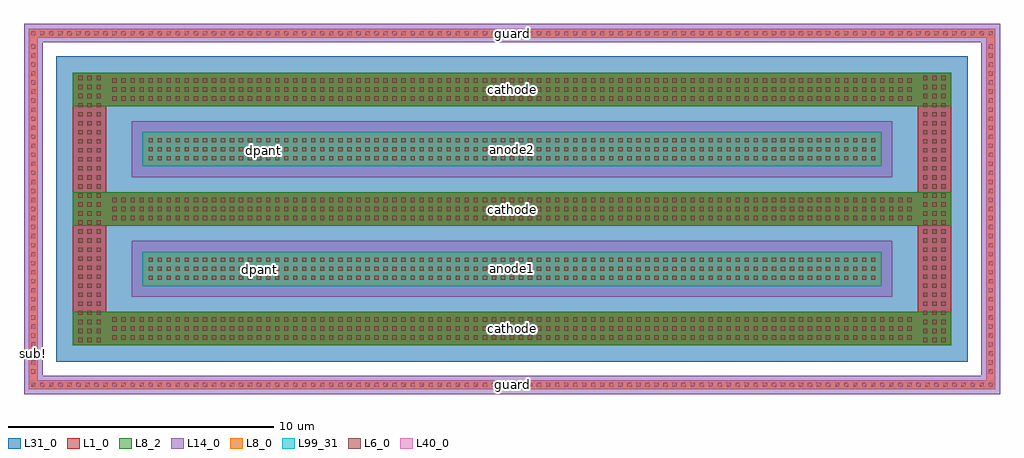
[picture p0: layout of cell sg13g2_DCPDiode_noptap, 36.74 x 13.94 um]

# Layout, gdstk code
import gdstk
lib = gdstk.Library(unit=1e-6, precision=5e-09)
def R(c, l, rs):  # rectangles x0, y0, x1, y1
    for r in rs: c.add(gdstk.rectangle(r[:2], r[2:], *l))
def A(c, l, x, y, w, h, nx, ny, dx, dy):  # array of equal rectangles
    R(c, l, [(x+i*dx, y+j*dy, x+i*dx+w, y+j*dy+h) for i in range(nx) for j in range(ny)])
def P(c, l, *ps):  # polygons
    for p in ps: c.add(gdstk.Polygon(p, *l))
L1_0 = (1, 0)
L6_0 = (6, 0)
L8_0 = (8, 0)
L8_2 = (8, 2)
L14_0 = (14, 0)
L31_0 = (31, 0)
L40_0 = (40, 0)
L99_31 = (99, 31)

sg13g2_dcpdiode_noptap = lib.new_cell('sg13g2_DCPDiode_noptap')
R(sg13g2_dcpdiode_noptap, L1_0, [(2.64,2.25,30.42,3.51), (2.64,6.75,30.42,8.01)])
P(sg13g2_dcpdiode_noptap, L1_0, [(-1.66,-1.66),(-1.66,11.58),(-1.32,11.58),(-1.32,-1.32),(34.38,-1.32),(34.38,11.58),(-1.66,11.58),(-1.66,11.92),(34.72,11.92),(34.72,-1.66)],
  [(0,0),(0,4.5),(1.26,4.5),(1.26,1.26),(31.8,1.26),(31.8,4.5),(0,4.5),(0,9),(1.26,9),(1.26,5.76),(31.8,5.76),(31.8,9),(0,9),(0,10.26),(33.06,10.26),(33.06,0)])
A(sg13g2_dcpdiode_noptap, L6_0, -1.57, -1.57, 0.16, 0.16, 107, 2, 0.34, 13.24)
A(sg13g2_dcpdiode_noptap, L6_0, -1.57, -1.07, 0.16, 0.16, 1, 37, 0, 0.34)
A(sg13g2_dcpdiode_noptap, L6_0, 34.47, -1.07, 0.16, 0.16, 1, 37, 0, 0.34)
A(sg13g2_dcpdiode_noptap, L6_0, 0.21, 0.12, 0.16, 0.16, 3, 30, 0.34, 0.34)
A(sg13g2_dcpdiode_noptap, L6_0, 32.01, 0.12, 0.16, 0.16, 3, 30, 0.34, 0.34)
A(sg13g2_dcpdiode_noptap, L6_0, 1.49, 0.21, 0.16, 0.16, 89, 3, 0.34, 0.34)
A(sg13g2_dcpdiode_noptap, L6_0, 2.85, 2.46, 0.16, 0.16, 81, 3, 0.34, 0.34)
A(sg13g2_dcpdiode_noptap, L6_0, 1.49, 4.71, 0.16, 0.16, 89, 3, 0.34, 0.34)
A(sg13g2_dcpdiode_noptap, L6_0, 2.85, 6.96, 0.16, 0.16, 81, 3, 0.34, 0.34)
A(sg13g2_dcpdiode_noptap, L6_0, 1.49, 9.21, 0.16, 0.16, 89, 3, 0.34, 0.34)
R(sg13g2_dcpdiode_noptap, L8_0, [(-1.66,-1.66,34.72,-1.32), (2.64,2.25,30.42,3.51), (2.64,6.75,30.42,8.01), (-1.66,11.58,34.72,11.92)])
P(sg13g2_dcpdiode_noptap, L8_0, [(-1.66,-1.66),(-1.66,11.58),(-1.32,11.58),(-1.32,-1.32),(34.38,-1.32),(34.38,11.58),(-1.66,11.58),(-1.66,11.92),(34.72,11.92),(34.72,-1.66)])
A(sg13g2_dcpdiode_noptap, L8_2, 0, 0, 33.06, 1.26, 1, 3, 0, 4.5)
R(sg13g2_dcpdiode_noptap, L8_2, [(-1.66,-1.66,34.72,-1.32), (2.64,2.25,30.42,3.51), (2.64,6.75,30.42,8.01), (-1.66,11.58,34.72,11.92)])
R(sg13g2_dcpdiode_noptap, L14_0, [(2.22,1.83,30.84,3.93), (2.22,6.33,30.84,8.43)])
P(sg13g2_dcpdiode_noptap, L14_0, [(-1.84,-1.84),(-1.84,11.4),(-1.14,11.4),(-1.14,-1.14),(34.2,-1.14),(34.2,11.4),(-1.84,11.4),(-1.84,12.1),(34.9,12.1),(34.9,-1.84)])
R(sg13g2_dcpdiode_noptap, L31_0, [(-0.62,-0.62,33.68,10.88)])
P(sg13g2_dcpdiode_noptap, L40_0, [(-1.66,-1.66),(-1.66,11.58),(-1.32,11.58),(-1.32,-1.32),(34.38,-1.32),(34.38,11.58),(-1.66,11.58),(-1.66,11.92),(34.72,11.92),(34.72,-1.66)])
R(sg13g2_dcpdiode_noptap, L99_31, [(2.62,2.23,30.44,3.53), (2.62,6.73,30.44,8.03)])
sg13g2_dcpdiode_noptap.add(gdstk.Label('dpant', (7.16,7.32), layer=63, texttype=0))
sg13g2_dcpdiode_noptap.add(gdstk.Label('dpant', (7.04,2.84), layer=63, texttype=0))
sg13g2_dcpdiode_noptap.add(gdstk.Label('sub!', (-1.49,-0.3), layer=63, texttype=0))
sg13g2_dcpdiode_noptap.add(gdstk.Label('anode1', (16.53,2.88), layer=8, texttype=25))
sg13g2_dcpdiode_noptap.add(gdstk.Label('anode2', (16.53,7.38), layer=8, texttype=25))
sg13g2_dcpdiode_noptap.add(gdstk.Label('guard', (16.53,11.75), layer=8, texttype=25))
sg13g2_dcpdiode_noptap.add(gdstk.Label('guard', (16.53,-1.49), layer=8, texttype=25))
sg13g2_dcpdiode_noptap.add(gdstk.Label('cathode', (16.53,5.13), layer=8, texttype=25))
sg13g2_dcpdiode_noptap.add(gdstk.Label('cathode', (16.53,0.63), layer=8, texttype=25))
sg13g2_dcpdiode_noptap.add(gdstk.Label('cathode', (16.53,9.63), layer=8, texttype=25))

lib.write_gds('sg13g2_DCPDiode_noptap.gds')
